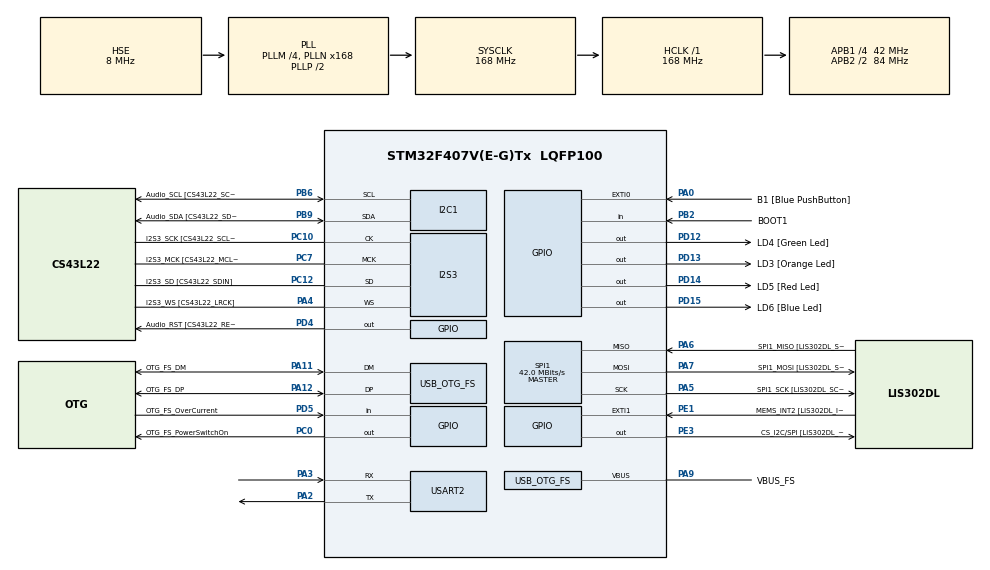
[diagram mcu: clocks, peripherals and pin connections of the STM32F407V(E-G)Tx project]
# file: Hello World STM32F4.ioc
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I2S3.AudioFreq=I2S_AUDIOFREQ_8K
I2S3.AudioFreq-Half_Duplex_Master=I2S_AUDIOFREQ_96K
I2S3.ErrorAudioFreq=1.72 %
I2S3.ErrorAudioFreq-Half_Duplex_Master=0.8 %
I2S3.FullDuplexMode=I2S_FULLDUPLEXMODE_DISABLE
I2S3.Instance=SPI$Index
I2S3.RealAudioFreq=8.138 KHz
I2S3.RealAudioFreq-Half_Duplex_Master=96.774 KHz
I2S3.VirtualMode=I2S_MODE_MASTER
Mcu.Family=STM32F4
Mcu.Name=STM32F407V(E-G)Tx
Mcu.Package=LQFP100
NVIC.OTG_FS_IRQn=true\:0\:0\:false\:false\:true\:true\:true
NVIC.PriorityGroup=NVIC_PRIORITYGROUP_0
PA0-WKUP.GPIO_Label=B1 [Blue PushButton]
PA0-WKUP.GPIO_ModeDefaultEXTI=GPIO_MODE_EVT_RISING
PA0-WKUP.GPIO_PuPd=GPIO_NOPULL
PA0-WKUP.Signal=GPXTI0
PA10.GPIO_Label=OTG_FS_ID
PA10.GPIO_Mode=GPIO_MODE_AF_PP
PA10.GPIO_PuPd=GPIO_NOPULL
PA10.GPIO_Speed=GPIO_SPEED_FREQ_LOW
PA10.Signal=USB_OTG_FS_ID
PA11.GPIO_Label=OTG_FS_DM
PA11.GPIO_Mode=GPIO_MODE_AF_PP
PA11.GPIO_PuPd=GPIO_NOPULL
PA11.GPIO_Speed=GPIO_SPEED_FREQ_LOW
PA11.Mode=Host_Only
PA11.Signal=USB_OTG_FS_DM
PA12.GPIO_Label=OTG_FS_DP
PA12.GPIO_Mode=GPIO_MODE_AF_PP
PA12.GPIO_PuPd=GPIO_NOPULL
PA12.GPIO_Speed=GPIO_SPEED_FREQ_LOW
PA12.Mode=Host_Only
PA12.Signal=USB_OTG_FS_DP
PA13.GPIO_Label=SWDIO
PA13.Mode=Serial_Wire
PA13.Signal=SYS_JTMS-SWDIO
PA14.GPIO_Label=SWCLK
PA14.Mode=Serial_Wire
PA14.Signal=SYS_JTCK-SWCLK
PA2.Mode=Asynchronous
PA2.Signal=USART2_TX
PA3.Mode=Asynchronous
PA3.Signal=USART2_RX
PA4.GPIO_Label=I2S3_WS [CS43L22_LRCK]
PA4.GPIO_Mode=GPIO_MODE_AF_PP
PA4.GPIO_PuPd=GPIO_NOPULL
PA4.GPIO_Speed=GPIO_SPEED_FREQ_LOW
PA4.Mode=Half_Duplex_Master
PA4.Signal=I2S3_WS
PA5.GPIO_Label=SPI1_SCK [LIS302DL_SCL/SPC]
PA5.GPIO_Mode=GPIO_MODE_AF_PP
PA5.GPIO_PuPd=GPIO_NOPULL
PA5.GPIO_Speed=GPIO_SPEED_FREQ_LOW
PA5.Mode=Full_Duplex_Master
PA5.Signal=SPI1_SCK
PA6.GPIO_Label=SPI1_MISO [LIS302DL_SDO]
PA6.GPIO_Mode=GPIO_MODE_AF_PP
PA6.GPIO_PuPd=GPIO_NOPULL
PA6.GPIO_Speed=GPIO_SPEED_FREQ_LOW
PA6.Mode=Full_Duplex_Master
PA6.Signal=SPI1_MISO
PA7.GPIO_Label=SPI1_MOSI [LIS302DL_SDA/SDI/SDO]
PA7.GPIO_Mode=GPIO_MODE_AF_PP
PA7.GPIO_PuPd=GPIO_NOPULL
PA7.GPIO_Speed=GPIO_SPEED_FREQ_LOW
PA7.Mode=Full_Duplex_Master
PA7.Signal=SPI1_MOSI
PA9.GPIO_Label=VBUS_FS
PA9.GPIO_Mode=GPIO_MODE_INPUT
PA9.GPIO_PuPd=GPIO_NOPULL
PA9.Mode=Activate_VBUS
PA9.Signal=USB_OTG_FS_VBUS
PB10.GPIO_Label=CLK_IN [MP45DT02_CLK]
PB10.GPIO_Mode=GPIO_MODE_AF_PP
PB10.GPIO_PuPd=GPIO_NOPULL
PB10.GPIO_Speed=GPIO_SPEED_FREQ_LOW
PB10.Signal=I2S2_CK
PB2.GPIO_Label=BOOT1
PB2.GPIO_Mode=GPIO_MODE_INPUT
PB2.GPIO_PuPd=GPIO_NOPULL
PB2.Signal=GPIO_Input
PB3.GPIO_Label=SWO
PB3.Signal=SYS_JTDO-SWO
PB6.GPIO_Label=Audio_SCL [CS43L22_SCL]
PB6.GPIO_Mode=GPIO_MODE_AF_OD
PB6.GPIO_PuPd=GPIO_NOPULL
PB6.GPIO_Speed=GPIO_SPEED_FREQ_LOW
PB6.Mode=I2C
PB6.Signal=I2C1_SCL
PB9.GPIO_Label=Audio_SDA [CS43L22_SDA]
PB9.GPIO_Mode=GPIO_MODE_AF_OD
PB9.GPIO_PuPd=GPIO_NOPULL
PB9.GPIO_Speed=GPIO_SPEED_FREQ_LOW
PB9.Mode=I2C
PB9.Signal=I2C1_SDA
PC0.GPIO_Label=OTG_FS_PowerSwitchOn
PC0.GPIO_PuPd=GPIO_NOPULL
PC0.GPIO_Speed=GPIO_SPEED_FREQ_LOW
PC0.PinState=GPIO_PIN_SET
PC0.Signal=GPIO_Output
PC10.GPIO_Label=I2S3_SCK [CS43L22_SCLK]
PC10.GPIO_Mode=GPIO_MODE_AF_PP
PC10.GPIO_PuPd=GPIO_NOPULL
PC10.GPIO_Speed=GPIO_SPEED_FREQ_LOW
PC10.Mode=Half_Duplex_Master
PC10.Signal=I2S3_CK
PC12.GPIO_Label=I2S3_SD [CS43L22_SDIN]
PC12.GPIO_Mode=GPIO_MODE_AF_PP
PC12.GPIO_PuPd=GPIO_NOPULL
PC12.GPIO_Speed=GPIO_SPEED_FREQ_LOW
PC12.Mode=Half_Duplex_Master
PC12.Signal=I2S3_SD
PC14-OSC32_IN.GPIO_Label=PC14-OSC32_IN
PC14-OSC32_IN.Mode=LSE-External-Oscillator
PC14-OSC32_IN.Signal=RCC_OSC32_IN
PC15-OSC32_OUT.GPIO_Label=PC15-OSC32_OUT
PC15-OSC32_OUT.Mode=LSE-External-Oscillator
PC15-OSC32_OUT.Signal=RCC_OSC32_OUT
PC3.GPIO_Label=PDM_OUT [MP45DT02_DOUT]
PC3.GPIO_Mode=GPIO_MODE_AF_PP
PC3.GPIO_PuPd=GPIO_NOPULL
PC3.GPIO_Speed=GPIO_SPEED_FREQ_LOW
PC3.Signal=I2S2_SD
PC7.GPIO_Label=I2S3_MCK [CS43L22_MCLK]
PC7.GPIO_Mode=GPIO_MODE_AF_PP
PC7.GPIO_PuPd=GPIO_NOPULL
PC7.GPIO_Speed=GPIO_SPEED_FREQ_LOW
PC7.Mode=Master_Clock_Activated
PC7.Signal=I2S3_MCK
PD12.GPIO_Label=LD4 [Green Led]
PD12.GPIO_PuPd=GPIO_NOPULL
PD12.GPIO_Speed=GPIO_SPEED_FREQ_LOW
PD12.Signal=GPIO_Output
PD13.GPIO_Label=LD3 [Orange Led]
PD13.GPIO_PuPd=GPIO_NOPULL
PD13.GPIO_Speed=GPIO_SPEED_FREQ_LOW
PD13.Signal=GPIO_Output
PD14.GPIO_Label=LD5 [Red Led]
PD14.GPIO_PuPd=GPIO_NOPULL
PD14.GPIO_Speed=GPIO_SPEED_FREQ_LOW
PD14.Signal=GPIO_Output
PD15.GPIO_Label=LD6 [Blue Led]
PD15.GPIO_PuPd=GPIO_NOPULL
PD15.GPIO_Speed=GPIO_SPEED_FREQ_LOW
PD15.Signal=GPIO_Output
PD4.GPIO_Label=Audio_RST [CS43L22_RESET]
PD4.GPIO_PuPd=GPIO_NOPULL
PD4.GPIO_Speed=GPIO_SPEED_FREQ_LOW
PD4.Signal=GPIO_Output
PD5.GPIO_Label=OTG_FS_OverCurrent
PD5.GPIO_Mode=GPIO_MODE_INPUT
PD5.GPIO_PuPd=GPIO_NOPULL
PD5.Signal=GPIO_Input
PE1.GPIO_Label=MEMS_INT2 [LIS302DL_INT2]
PE1.GPIO_ModeDefaultEXTI=GPIO_MODE_EVT_RISING
PE1.GPIO_PuPd=GPIO_NOPULL
PE1.Signal=GPXTI1
PE3.GPIO_Label=CS_I2C/SPI [LIS302DL_CS_I2C/SPI]
PE3.GPIO_PuPd=GPIO_NOPULL
PE3.GPIO_Speed=GPIO_SPEED_FREQ_LOW
PE3.Signal=GPIO_Output
PH0-OSC_IN.GPIO_Label=PH0-OSC_IN
PH0-OSC_IN.Mode=HSE-External-Oscillator
PH0-OSC_IN.Signal=RCC_OSC_IN
PH1-OSC_OUT.GPIO_Label=PH1-OSC_OUT
PH1-OSC_OUT.Mode=HSE-External-Oscillator
PH1-OSC_OUT.Signal=RCC_OSC_OUT
ProjectManager.HeapSize=0x200
ProjectManager.StackSize=0x1000
ProjectManager.TargetToolchain=MDK-ARM V5.27
RCC.48MHZClocksFreq_Value=48000000
RCC.AHBFreq_Value=168000000
RCC.APB1CLKDivider=RCC_HCLK_DIV4
RCC.APB1Freq_Value=42000000
RCC.APB1TimFreq_Value=84000000
RCC.APB2CLKDivider=RCC_HCLK_DIV2
RCC.APB2Freq_Value=84000000
RCC.APB2TimFreq_Value=168000000
RCC.CortexFreq_Value=168000000
RCC.HCLKFreq_Value=168000000
RCC.HSE_VALUE=8000000
RCC.HSI_VALUE=16000000
RCC.PLLI2SN=50
RCC.PLLM=4
RCC.PLLN=168
RCC.PLLQ=7
RCC.SYSCLKFreq_VALUE=168000000
RCC.SYSCLKSource=RCC_SYSCLKSOURCE_PLLCLK
RCC.VCOOutputFreq_Value=336000000
SPI1.BaudRatePrescaler=SPI_BAUDRATEPRESCALER_2
SPI1.BaudRatePrescaler-Full_Duplex_Master=SPI_BAUDRATEPRESCALER_2
SPI1.CalculateBaudRate=42.0 MBits/s
SPI1.CalculateBaudRate-Full_Duplex_Master=42.0 MBits/s
SPI1.Direction=SPI_DIRECTION_2LINES
SPI1.Mode=SPI_MODE_MASTER
SPI1.Mode-Full_Duplex_Master=SPI_MODE_MASTER
SPI1.VirtualType=VM_MASTER
STMicroelectronics.X-CUBE-AI.6.0.0.ActivationBufferSizeList=136
STMicroelectronics.X-CUBE-AI.6.0.0.HeapSize=0x200
STMicroelectronics.X-CUBE-AI.6.0.0.InternalRamActivationBufferMaxSize=AI_SINE_MODEL_DATA_ACTIVATIONS_SIZE
STMicroelectronics.X-CUBE-AI.6.0.0.LatestDirectoryUsed-44242c8115b65e0cf60b5c9337884995818a8b1261f574c89e144d135c3d3d34=C\:\\Users\\Ayachi\\Desktop\\STM32F103 Tutorial
STMicroelectronics.X-CUBE-AI.6.0.0.MaximumNumberOfInputLayer=1
STMicroelectronics.X-CUBE-AI.6.0.0.MaximumNumberOfOutputLayer=1
STMicroelectronics.X-CUBE-AI.6.0.0.MaximumSizeOfInputLayer=AI_SINE_MODEL_IN_1_SIZE_BYTES
STMicroelectronics.X-CUBE-AI.6.0.0.MaximumSizeOfOutputLayer=AI_SINE_MODEL_OUT_1_SIZE_BYTES
STMicroelectronics.X-CUBE-AI.6.0.0.ModelActualCompression-44242c8115b65e0cf60b5c9337884995818a8b1261f574c89e144d135c3d3d34=0.0
STMicroelectronics.X-CUBE-AI.6.0.0.ModelCompression-44242c8115b65e0cf60b5c9337884995818a8b1261f574c89e144d135c3d3d34=1
STMicroelectronics.X-CUBE-AI.6.0.0.ModelFlashOccupation-44242c8115b65e0cf60b5c9337884995818a8b1261f574c89e144d135c3d3d34=1284
STMicroelectronics.X-CUBE-AI.6.0.0.ModelHashList=44242c8115b65e0cf60b5c9337884995818a8b1261f574c89e144d135c3d3d34
STMicroelectronics.X-CUBE-AI.6.0.0.ModelKind-44242c8115b65e0cf60b5c9337884995818a8b1261f574c89e144d135c3d3d34=TFLITE
STMicroelectronics.X-CUBE-AI.6.0.0.ModelMacc-44242c8115b65e0cf60b5c9337884995818a8b1261f574c89e144d135c3d3d34=353
STMicroelectronics.X-CUBE-AI.6.0.0.ModelName-44242c8115b65e0cf60b5c9337884995818a8b1261f574c89e144d135c3d3d34=sine_model
STMicroelectronics.X-CUBE-AI.6.0.0.ModelNameList=sine_model
STMicroelectronics.X-CUBE-AI.6.0.0.ModelRamOccupation-44242c8115b65e0cf60b5c9337884995818a8b1261f574c89e144d135c3d3d34=136
STMicroelectronics.X-CUBE-AI.6.0.0.ModelStructureFile-44242c8115b65e0cf60b5c9337884995818a8b1261f574c89e144d135c3d3d34=/C\:/Users/Ayachi/Desktop/STM32F103 Tutorial/sine_model.tflite
STMicroelectronics.X-CUBE-AI.6.0.0.ModelType-44242c8115b65e0cf60b5c9337884995818a8b1261f574c89e144d135c3d3d34=STM32Cube.AI runtime
STMicroelectronics.X-CUBE-AI.6.0.0.StackSize=0x1000
STMicroelectronics.X-CUBE-AI.6.0.0.WorkingBufferStartAddrList=0xFFFFFFFF
STMicroelectronics.X-CUBE-AI.6.0.0.XAaCUBEAaAICcArtificialOoIntelligenceJjCore=true
STMicroelectronics.X-CUBE-AI.6.0.0.copyWeightToRam-44242c8115b65e0cf60b5c9337884995818a8b1261f574c89e144d135c3d3d34=false
STMicroelectronics.X-CUBE-AI.6.0.0.customLayerConfigEnabled-44242c8115b65e0cf60b5c9337884995818a8b1261f574c89e144d135c3d3d34=false
USART2.VirtualMode=VM_ASYNC
USB_HOST.BSP.number=1
USB_HOST.USBH_HandleTypeDef-CDC_FS=hUsbHostFS
USB_HOST.VirtualModeFS=Cdc
USB_HOST0.BSP.STBoard=false
USB_HOST0.BSP.api=Unknown
USB_HOST0.BSP.i2caddr=0
USB_HOST0.BSP.i2creg=0
USB_HOST0.BSP.instance=PC0
USB_HOST0.BSP.ip=GPIO
USB_HOST0.BSP.mode=Output
USB_HOST0.BSP.name=Drive_VBUS_FS
USB_HOST0.BSP.solution=PC0
USB_OTG_FS.VirtualMode=Host_Only
USB_OTG_FS.phy_itface=HCD_PHY_EMBEDDED
VP_CRC_VS_CRC.Mode=CRC_Activate
VP_STMicroelectronics.X-CUBE-AI_VS_ArtificialOoIntelligenceJjXAaCUBEAaAI_6.0.0.Mode=ArtificialOoIntelligenceJjXAaCUBEAaAI
VP_USB_HOST_VS_USB_HOST_CDC_FS.Mode=CDC_FS
board=STM32F407G-DISC1

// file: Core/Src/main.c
/* USER CODE BEGIN Header */
/**
  ******************************************************************************
  * @file           : main.c
  * @brief          : Main program body
  ******************************************************************************
  * @attention
  *
  * <h2><center>&copy; Copyright (c) 2021 STMicroelectronics.
  * All rights reserved.</center></h2>
  *
  * This software component is licensed by ST under Ultimate Liberty license
  * SLA0044, the "License"; You may not use this file except in compliance with
  * the License. You may obtain a copy of the License at:
  *                             www.st.com/SLA0044
  *
  ******************************************************************************
  */

#include <stdio.h>
#include <math.h>
/* USER CODE END Header */
#include "main.h"
#include "usb_host.h"

/* USER CODE BEGIN Includes */
#include "ai_datatypes_defines.h"
#include "ai_platform.h"
#include "sine_model.h"
#include "sine_model_data.h"
/* USER CODE END Includes */

CRC_HandleTypeDef hcrc;

I2C_HandleTypeDef hi2c1;

I2S_HandleTypeDef hi2s3;

SPI_HandleTypeDef hspi1;

UART_HandleTypeDef huart2;

void SystemClock_Config(void);
static void MX_GPIO_Init(void);
static void MX_CRC_Init(void);
static void MX_I2C1_Init(void);
static void MX_I2S3_Init(void);
static void MX_SPI1_Init(void);
static void MX_USART2_UART_Init(void);
void MX_USB_HOST_Process(void);

int main(void)
{
  /* USER CODE BEGIN 1 */
	ai_error ai_err;
	ai_i32 nbatch;
	float y_val;

	// Chunk of memory used to hold intermediate values for neural network
	AI_ALIGNED(4) ai_u8 activations[AI_SINE_MODEL_DATA_ACTIVATIONS_SIZE];

	// Buffers used to store input and output tensors
	AI_ALIGNED(4) ai_u8 in_data[AI_SINE_MODEL_IN_1_SIZE_BYTES];
	AI_ALIGNED(4) ai_u8 out_data[AI_SINE_MODEL_OUT_1_SIZE_BYTES];

	// Pointer to our model
	ai_handle sine_model = AI_HANDLE_NULL;

	// Initialize wrapper structs that hold pointers to data and info about the
  // data (tensor height, width, channels)
  ai_buffer ai_input[AI_SINE_MODEL_IN_NUM] = AI_SINE_MODEL_IN;
  ai_buffer ai_output[AI_SINE_MODEL_OUT_NUM] = AI_SINE_MODEL_OUT;

	// Set working memory and get weights/biases from model
  ai_network_params ai_params =
	{
    AI_SINE_MODEL_DATA_WEIGHTS(ai_sine_model_data_weights_get()),
    AI_SINE_MODEL_DATA_ACTIVATIONS(activations)
  };

  // Set pointers wrapper structs to our data buffers
  ai_input[0].n_batches = 1;
  ai_input[0].data = AI_HANDLE_PTR(in_data);
  ai_output[0].n_batches = 1;
  ai_output[0].data = AI_HANDLE_PTR(out_data);
	float PI_Val[50] = {-3.14159265, -3.01336438, -2.88513611, -2.75690784, -2.62867957,
       -2.5004513 , -2.37222302, -2.24399475, -2.11576648, -1.98753821,
       -1.85930994, -1.73108167, -1.60285339, -1.47462512, -1.34639685,
       -1.21816858, -1.08994031, -0.96171204, -0.83348377, -0.70525549,
       -0.57702722, -0.44879895, -0.32057068, -0.19234241, -0.06411414,
        0.06411414,  0.19234241,  0.32057068,  0.44879895,  0.57702722,
        0.70525549,  0.83348377,  0.96171204,  1.08994031,  1.21816858,
        1.34639685,  1.47462512,  1.60285339,  1.73108167,  1.85930994,
        1.98753821,  2.11576648,  2.24399475,  2.37222302,  2.5004513 ,
        2.62867957,  2.75690784,  2.88513611,  3.01336438,  3.14159265};

  /* USER CODE END 1 */

  /* MCU Configuration--------------------------------------------------------*/

  /* Reset of all peripherals, Initializes the Flash interface and the Systick. */
  HAL_Init();

  /* Configure the system clock */
  SystemClock_Config();

  /* Initialize all configured peripherals */
  MX_GPIO_Init();
  MX_CRC_Init();
  MX_I2C1_Init();
  MX_I2S3_Init();
  MX_SPI1_Init();
  MX_USB_HOST_Init();
  MX_USART2_UART_Init();
  /* USER CODE BEGIN 2 */

	// Create instance of neural network
  ai_err = ai_sine_model_create(&sine_model, AI_SINE_MODEL_DATA_CONFIG);
  if (ai_err.type != AI_ERROR_NONE)
  {
		printf("Error While creating the Neural Network Instance ! \r\n");
    while(1);
  }

	  // Initialize neural network
  if (!ai_sine_model_init(sine_model, &ai_params))
  {
		printf("Error While Initializing the Neural Network ! \r\n");
    while(1);
  }

  /* USER CODE END 2 */

  /* Infinite loop */
  /* USER CODE BEGIN WHILE */
  while (1)
  {

		// Fill input buffer (use test value)
    for (uint32_t i = 0; i < 50; i++) /*AI_SINE_MODEL_IN_1_SIZE*/
    {
      ((ai_float *)in_data)[0] = (ai_float)PI_Val[i]; //50.0f;

		// Perform inference
		nbatch = ai_sine_model_run(sine_model, &ai_input[0], &ai_output[0]);
    if (nbatch != 1)
			{
      printf("Error: could not run inference\r\n");
			}

		// Read output (predicted y) of neural network
			y_val = ((float *)out_data)[0];

    // Print output of neural network along with inference time (microseconds)
			printf("Predicted Sine Output: %f\r\n",y_val);
			//printf("Regular Sine Output: %f\r\n", sin(PI_Val[i]));

    // Wait before doing it again
    HAL_Delay(10);
			}
    /* USER CODE END WHILE */
    MX_USB_HOST_Process();

  }
}

void SystemClock_Config(void)
{
  RCC_OscInitTypeDef RCC_OscInitStruct = {0};
  RCC_ClkInitTypeDef RCC_ClkInitStruct = {0};
  RCC_PeriphCLKInitTypeDef PeriphClkInitStruct = {0};

  /** Configure the main internal regulator output voltage
  */
  __HAL_RCC_PWR_CLK_ENABLE();
  __HAL_PWR_VOLTAGESCALING_CONFIG(PWR_REGULATOR_VOLTAGE_SCALE1);
  /** Initializes the RCC Oscillators according to the specified parameters
  * in the RCC_OscInitTypeDef structure.
  */
  RCC_OscInitStruct.OscillatorType = RCC_OSCILLATORTYPE_HSE;
  RCC_OscInitStruct.HSEState = RCC_HSE_ON;
  RCC_OscInitStruct.PLL.PLLState = RCC_PLL_ON;
  RCC_OscInitStruct.PLL.PLLSource = RCC_PLLSOURCE_HSE;
  RCC_OscInitStruct.PLL.PLLM = 4;
  RCC_OscInitStruct.PLL.PLLN = 168;
  RCC_OscInitStruct.PLL.PLLP = RCC_PLLP_DIV2;
  RCC_OscInitStruct.PLL.PLLQ = 7;
  if (HAL_RCC_OscConfig(&RCC_OscInitStruct) != HAL_OK)
  {
    Error_Handler();
  }
  /** Initializes the CPU, AHB and APB buses clocks
  */
  RCC_ClkInitStruct.ClockType = RCC_CLOCKTYPE_HCLK|RCC_CLOCKTYPE_SYSCLK
                              |RCC_CLOCKTYPE_PCLK1|RCC_CLOCKTYPE_PCLK2;
  RCC_ClkInitStruct.SYSCLKSource = RCC_SYSCLKSOURCE_PLLCLK;
  RCC_ClkInitStruct.AHBCLKDivider = RCC_SYSCLK_DIV1;
  RCC_ClkInitStruct.APB1CLKDivider = RCC_HCLK_DIV4;
  RCC_ClkInitStruct.APB2CLKDivider = RCC_HCLK_DIV2;

  if (HAL_RCC_ClockConfig(&RCC_ClkInitStruct, FLASH_LATENCY_5) != HAL_OK)
  {
    Error_Handler();
  }
  PeriphClkInitStruct.PeriphClockSelection = RCC_PERIPHCLK_I2S;
  PeriphClkInitStruct.PLLI2S.PLLI2SN = 50;
  PeriphClkInitStruct.PLLI2S.PLLI2SR = 2;
  if (HAL_RCCEx_PeriphCLKConfig(&PeriphClkInitStruct) != HAL_OK)
  {
    Error_Handler();
  }
}

static void MX_CRC_Init(void)
{

  hcrc.Instance = CRC;
  if (HAL_CRC_Init(&hcrc) != HAL_OK)
  {
    Error_Handler();
  }

}

static void MX_I2C1_Init(void)
{

  hi2c1.Instance = I2C1;
  hi2c1.Init.ClockSpeed = 100000;
  hi2c1.Init.DutyCycle = I2C_DUTYCYCLE_2;
  hi2c1.Init.OwnAddress1 = 0;
  hi2c1.Init.AddressingMode = I2C_ADDRESSINGMODE_7BIT;
  hi2c1.Init.DualAddressMode = I2C_DUALADDRESS_DISABLE;
  hi2c1.Init.OwnAddress2 = 0;
  hi2c1.Init.GeneralCallMode = I2C_GENERALCALL_DISABLE;
  hi2c1.Init.NoStretchMode = I2C_NOSTRETCH_DISABLE;
  if (HAL_I2C_Init(&hi2c1) != HAL_OK)
  {
    Error_Handler();
  }

}

static void MX_I2S3_Init(void)
{

  hi2s3.Instance = SPI3;
  hi2s3.Init.Mode = I2S_MODE_MASTER_TX;
  hi2s3.Init.Standard = I2S_STANDARD_PHILIPS;
  hi2s3.Init.DataFormat = I2S_DATAFORMAT_16B;
  hi2s3.Init.MCLKOutput = I2S_MCLKOUTPUT_ENABLE;
  hi2s3.Init.AudioFreq = I2S_AUDIOFREQ_8K;
  hi2s3.Init.CPOL = I2S_CPOL_LOW;
  hi2s3.Init.ClockSource = I2S_CLOCK_PLL;
  hi2s3.Init.FullDuplexMode = I2S_FULLDUPLEXMODE_DISABLE;
  if (HAL_I2S_Init(&hi2s3) != HAL_OK)
  {
    Error_Handler();
  }

}

static void MX_SPI1_Init(void)
{

  /* SPI1 parameter configuration*/
  hspi1.Instance = SPI1;
  hspi1.Init.Mode = SPI_MODE_MASTER;
  hspi1.Init.Direction = SPI_DIRECTION_2LINES;
  hspi1.Init.DataSize = SPI_DATASIZE_8BIT;
  hspi1.Init.CLKPolarity = SPI_POLARITY_LOW;
  hspi1.Init.CLKPhase = SPI_PHASE_1EDGE;
  hspi1.Init.NSS = SPI_NSS_SOFT;
  hspi1.Init.BaudRatePrescaler = SPI_BAUDRATEPRESCALER_2;
  hspi1.Init.FirstBit = SPI_FIRSTBIT_MSB;
  hspi1.Init.TIMode = SPI_TIMODE_DISABLE;
  hspi1.Init.CRCCalculation = SPI_CRCCALCULATION_DISABLE;
  hspi1.Init.CRCPolynomial = 10;
  if (HAL_SPI_Init(&hspi1) != HAL_OK)
  {
    Error_Handler();
  }

}

static void MX_USART2_UART_Init(void)
{

  huart2.Instance = USART2;
  huart2.Init.BaudRate = 115200;
  huart2.Init.WordLength = UART_WORDLENGTH_8B;
  huart2.Init.StopBits = UART_STOPBITS_1;
  huart2.Init.Parity = UART_PARITY_NONE;
  huart2.Init.Mode = UART_MODE_TX_RX;
  huart2.Init.HwFlowCtl = UART_HWCONTROL_NONE;
  huart2.Init.OverSampling = UART_OVERSAMPLING_16;
  if (HAL_UART_Init(&huart2) != HAL_OK)
  {
    Error_Handler();
  }

}

static void MX_GPIO_Init(void)
{
  GPIO_InitTypeDef GPIO_InitStruct = {0};

  /* GPIO Ports Clock Enable */
  __HAL_RCC_GPIOE_CLK_ENABLE();
  __HAL_RCC_GPIOC_CLK_ENABLE();
  __HAL_RCC_GPIOH_CLK_ENABLE();
  __HAL_RCC_GPIOA_CLK_ENABLE();
  __HAL_RCC_GPIOB_CLK_ENABLE();
  __HAL_RCC_GPIOD_CLK_ENABLE();

  /*Configure GPIO pin Output Level */
  HAL_GPIO_WritePin(CS_I2C_SPI_GPIO_Port, CS_I2C_SPI_Pin, GPIO_PIN_RESET);

  /*Configure GPIO pin Output Level */
  HAL_GPIO_WritePin(OTG_FS_PowerSwitchOn_GPIO_Port, OTG_FS_PowerSwitchOn_Pin, GPIO_PIN_SET);

  /*Configure GPIO pin Output Level */
  HAL_GPIO_WritePin(GPIOD, LD4_Pin|LD3_Pin|LD5_Pin|LD6_Pin
                          |Audio_RST_Pin, GPIO_PIN_RESET);

  /*Configure GPIO pin : CS_I2C_SPI_Pin */
  GPIO_InitStruct.Pin = CS_I2C_SPI_Pin;
  GPIO_InitStruct.Mode = GPIO_MODE_OUTPUT_PP;
  GPIO_InitStruct.Pull = GPIO_NOPULL;
  GPIO_InitStruct.Speed = GPIO_SPEED_FREQ_LOW;
  HAL_GPIO_Init(CS_I2C_SPI_GPIO_Port, &GPIO_InitStruct);

  /*Configure GPIO pin : OTG_FS_PowerSwitchOn_Pin */
  GPIO_InitStruct.Pin = OTG_FS_PowerSwitchOn_Pin;
  GPIO_InitStruct.Mode = GPIO_MODE_OUTPUT_PP;
  GPIO_InitStruct.Pull = GPIO_NOPULL;
  GPIO_InitStruct.Speed = GPIO_SPEED_FREQ_LOW;
  HAL_GPIO_Init(OTG_FS_PowerSwitchOn_GPIO_Port, &GPIO_InitStruct);

  /*Configure GPIO pin : PDM_OUT_Pin */
  GPIO_InitStruct.Pin = PDM_OUT_Pin;
  GPIO_InitStruct.Mode = GPIO_MODE_AF_PP;
  GPIO_InitStruct.Pull = GPIO_NOPULL;
  GPIO_InitStruct.Speed = GPIO_SPEED_FREQ_LOW;
  GPIO_InitStruct.Alternate = GPIO_AF5_SPI2;
  HAL_GPIO_Init(PDM_OUT_GPIO_Port, &GPIO_InitStruct);

  /*Configure GPIO pin : B1_Pin */
  GPIO_InitStruct.Pin = B1_Pin;
  GPIO_InitStruct.Mode = GPIO_MODE_EVT_RISING;
  GPIO_InitStruct.Pull = GPIO_NOPULL;
  HAL_GPIO_Init(B1_GPIO_Port, &GPIO_InitStruct);

  /*Configure GPIO pin : BOOT1_Pin */
  GPIO_InitStruct.Pin = BOOT1_Pin;
  GPIO_InitStruct.Mode = GPIO_MODE_INPUT;
  GPIO_InitStruct.Pull = GPIO_NOPULL;
  HAL_GPIO_Init(BOOT1_GPIO_Port, &GPIO_InitStruct);

  /*Configure GPIO pin : CLK_IN_Pin */
  GPIO_InitStruct.Pin = CLK_IN_Pin;
  GPIO_InitStruct.Mode = GPIO_MODE_AF_PP;
  GPIO_InitStruct.Pull = GPIO_NOPULL;
  GPIO_InitStruct.Speed = GPIO_SPEED_FREQ_LOW;
  GPIO_InitStruct.Alternate = GPIO_AF5_SPI2;
  HAL_GPIO_Init(CLK_IN_GPIO_Port, &GPIO_InitStruct);

  /*Configure GPIO pins : LD4_Pin LD3_Pin LD5_Pin LD6_Pin
                           Audio_RST_Pin */
  GPIO_InitStruct.Pin = LD4_Pin|LD3_Pin|LD5_Pin|LD6_Pin
                          |Audio_RST_Pin;
  GPIO_InitStruct.Mode = GPIO_MODE_OUTPUT_PP;
  GPIO_InitStruct.Pull = GPIO_NOPULL;
  GPIO_InitStruct.Speed = GPIO_SPEED_FREQ_LOW;
  HAL_GPIO_Init(GPIOD, &GPIO_InitStruct);

  /*Configure GPIO pin : OTG_FS_OverCurrent_Pin */
  GPIO_InitStruct.Pin = OTG_FS_OverCurrent_Pin;
  GPIO_InitStruct.Mode = GPIO_MODE_INPUT;
  GPIO_InitStruct.Pull = GPIO_NOPULL;
  HAL_GPIO_Init(OTG_FS_OverCurrent_GPIO_Port, &GPIO_InitStruct);

  /*Configure GPIO pin : MEMS_INT2_Pin */
  GPIO_InitStruct.Pin = MEMS_INT2_Pin;
  GPIO_InitStruct.Mode = GPIO_MODE_EVT_RISING;
  GPIO_InitStruct.Pull = GPIO_NOPULL;
  HAL_GPIO_Init(MEMS_INT2_GPIO_Port, &GPIO_InitStruct);

}

void Error_Handler(void)
{
  __disable_irq();
  while (1)
  {
  }
}

/* The code below is the interface to the C standard I/O library.
* All the I/O are directed to the console, which is UART2. */

/* Write a character to USART2 */
int USART2_Write(int c)
{
	while(!(USART2->SR & 0x0080)) {} /* wait until Tx buffer empty */
	USART2->DR = c;
	return c;
}

struct __FILE{int handle; };
FILE __stdout = {1};
/* Called by C library console/file output */
int fputc(int c, FILE *f)
{
	return USART2_Write(c); /* write the character to console */
}

/************************ (C) COPYRIGHT STMicroelectronics *****END OF FILE****/
